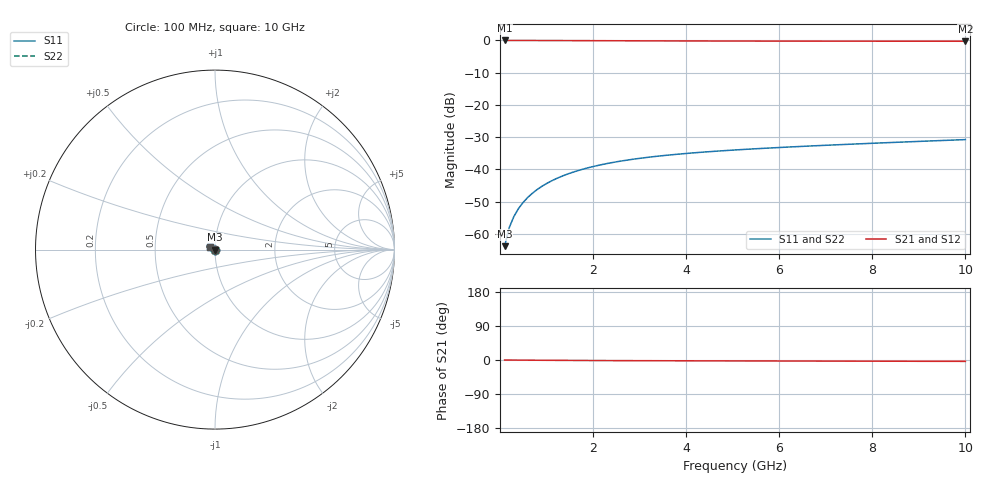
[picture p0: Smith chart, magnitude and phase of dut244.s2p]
! Touchstone file exported from HFSS 2024.1.0
!  File:  C:/UserFiles/LocalFiles/RDL_TSV_Batchsim/temp_TSV1_244_1779389832.aedt
!  Generated:  03:03:21 AM May 22, 2026
!  Design:  TSV1
!  Project:  temp_TSV1_244_1779389832
!  Setup:  Setup1
!  Solution:  Sweep
! Variables:
!  dtsv = 8.13um
!  hbump = 3um
!  htsv = 51.09um
!  lrdl = 252.1521522um
!  p = 40
!  p1 = 53.85um
!  t = 500um
!  trdl = 3um
!  wrdl = 24.89489489um
# GHz S MA R 50.000000
! Terminal data exported
! Port[1] = TSV22_T1
! Port[2] = TSV22_T2
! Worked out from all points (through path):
!   100 points, 100 MHz to 10 GHz, reference 50 ohm
!   highest |S21| = 0.00 dB at 100 MHz (marker M1); lowest = -0.2 dB at 10 GHz (marker M2)
!   lowest |S11| = -63.9 dB at 100 MHz (marker M3), VSWR 1.00, Z = 50 - j0.0624 ohm
!   |S11| at or under -10 dB: start of sweep to end of sweep
!   |S22| runs from -63.9 to -30.8 dB; largest |S21 - S12| = 3.7e-15
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0.1  0.0006409 -76.9  0.9998 -0.1  0.9998 -0.1  0.0006409 -76.9
! Gamma 0 0 0 0
! Port Impedance 50 0 50 0
0.2  0.001246 -86.7  0.9997 -0.2  0.9997 -0.2  0.001246 -86.7
0.3  0.001857 -91.6  0.9996 -0.2  0.9996 -0.2  0.001857 -91.6
0.4  0.002467 -95.1  0.9994 -0.3  0.9994 -0.3  0.002467 -95.1
0.5  0.003073 -98.2  0.9992 -0.4  0.9992 -0.4  0.003073 -98.2
0.6  0.003675 -100.9  0.9989 -0.5  0.9989 -0.5  0.003675 -100.9
0.7  0.00427 -103.5  0.9986 -0.6  0.9986 -0.6  0.00427 -103.5
0.8  0.004857 -105.9  0.9982 -0.6  0.9982 -0.6  0.004857 -105.9
0.9  0.005436 -108.3  0.9978 -0.7  0.9978 -0.7  0.005436 -108.3
1.1  0.006563 -112.8  0.997 -0.8  0.997 -0.8  0.006563 -112.8
1.4  0.008168 -119.1  0.9955 -1.0  0.9955 -1.0  0.008168 -119.1
1.6  0.009175 -123.1  0.9944 -1.2  0.9944 -1.2  0.009174 -123.1
1.8  0.01013 -127.0  0.9934 -1.3  0.9934 -1.3  0.01013 -127.0
2.1  0.01146 -132.5  0.9917 -1.4  0.9917 -1.4  0.01146 -132.5
2.5  0.01305 -139.3  0.9895 -1.6  0.9895 -1.6  0.01305 -139.3
2.9  0.01446 -145.6  0.9874 -1.8  0.9874 -1.8  0.01446 -145.6
3.4  0.01601 -152.8  0.9851 -1.9  0.9851 -1.9  0.01601 -152.8
4.2  0.01809 -162.8  0.9819 -2.2  0.9819 -2.2  0.01809 -162.8
5.1  0.02005 -172.5  0.9791 -2.4  0.9791 -2.4  0.02005 -172.5
6.7  0.02306 173.6  0.9756 -2.8  0.9756 -2.8  0.02306 173.6
8.4  0.02604 162.1  0.9732 -3.2  0.9732 -3.2  0.02604 162.0
10  0.02889 153.3  0.9717 -3.6  0.9717 -3.6  0.02889 153.3
